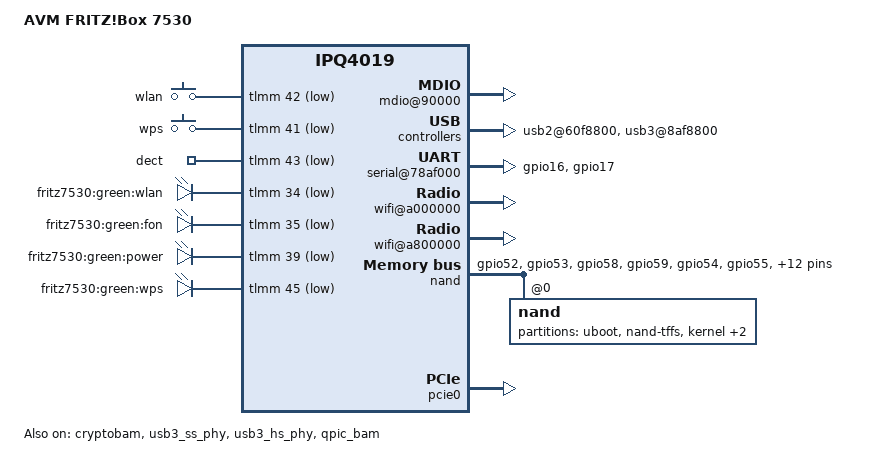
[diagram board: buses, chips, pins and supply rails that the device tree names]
/* Copyright (c) 2015, The Linux Foundation. All rights reserved.
 *
 * Permission to use, copy, modify, and/or distribute this software for any
 * purpose with or without fee is hereby granted, provided that the above
 * copyright notice and this permission notice appear in all copies.
 *
 * THE SOFTWARE IS PROVIDED "AS IS" AND THE AUTHOR DISCLAIMS ALL WARRANTIES
 * WITH REGARD TO THIS SOFTWARE INCLUDING ALL IMPLIED WARRANTIES OF
 * MERCHANTABILITY AND FITNESS. IN NO EVENT SHALL THE AUTHOR BE LIABLE FOR
 * ANY SPECIAL, DIRECT, INDIRECT, OR CONSEQUENTIAL DAMAGES OR ANY DAMAGES
 * WHATSOEVER RESULTING FROM LOSS OF USE, DATA OR PROFITS, WHETHER IN AN
 * ACTION OF CONTRACT, NEGLIGENCE OR OTHER TORTIOUS ACTION, ARISING OUT OF
 * OR IN CONNECTION WITH THE USE OR PERFORMANCE OF THIS SOFTWARE.
 *
 */

#include "qcom-ipq4019.dtsi"
#include <dt-bindings/gpio/gpio.h>
#include <dt-bindings/input/input.h>
#include <dt-bindings/soc/qcom,tcsr.h>

/ {
	model = "AVM FRITZ!Box 7530";
	compatible = "avm,fritzbox-7530", "qcom,ipq4019";

	aliases {
		led-boot = &power;
		led-failsafe = &power;
		led-running = &power;
		led-upgrade = &power;
	};

	soc {
		mdio@90000 {
			status = "okay";
		};

		ess-psgmii@98000 {
			status = "okay";
		};

		tcsr@1949000 {
			compatible = "qcom,tcsr";
			reg = <0x1949000 0x100>;
			qcom,wifi_glb_cfg = <TCSR_WIFI_GLB_CFG>;
		};

		tcsr@194b000 {
			compatible = "qcom,tcsr";
			reg = <0x194b000 0x100>;
			qcom,usb-hsphy-mode-select = <TCSR_USB_HSPHY_HOST_MODE>;
		};

		ess_tcsr@1953000 {
			compatible = "qcom,tcsr";
			reg = <0x1953000 0x1000>;
			qcom,ess-interface-select = <TCSR_ESS_PSGMII>;
		};

		tcsr@1957000 {
			compatible = "qcom,tcsr";
			reg = <0x1957000 0x100>;
			qcom,wifi_noc_memtype_m0_m2 = <TCSR_WIFI_NOC_MEMTYPE_M0_M2>;
		};

		usb2@60f8800 {
			status = "okay";
		};

		serial@78af000 {
			pinctrl-0 = <&serial_0_pins>;
			pinctrl-names = "default";
			status = "okay";
		};

		usb3@8af8800 {
			status = "okay";
		};

		crypto@8e3a000 {
			status = "okay";
		};

		wifi@a000000 {
			status = "okay";
			qcom,ath10k-calibration-variant = "AVM-FRITZBox-7530";
		};

		wifi@a800000 {
			status = "okay";
			qcom,ath10k-calibration-variant = "AVM-FRITZBox-7530";
		};

		watchdog@b017000 {
			status = "okay";
		};

		ess-switch@c000000 {
			status = "okay";
		};

		edma@c080000 {
			status = "okay";
			qcom,num_gmac = <1>;
		};
	};

	gpio-keys {
		compatible = "gpio-keys";

		wlan {
			label = "wlan";
			gpios = <&tlmm 42 GPIO_ACTIVE_LOW>;
			linux,code = <KEY_RFKILL>;
		};

		wps {
			label = "wps";
			gpios = <&tlmm 41 GPIO_ACTIVE_LOW>;
			linux,code = <KEY_WPS_BUTTON>;
		};

		dect {
			label = "dect";
			gpios = <&tlmm 43 GPIO_ACTIVE_LOW>;
		};
	};

	gpio-leds {
		compatible = "gpio-leds";

		wlan {
			label = "fritz7530:green:wlan";
			gpios = <&tlmm 34 GPIO_ACTIVE_LOW>;
		};

		fon {
			label = "fritz7530:green:fon";
			gpios = <&tlmm 35 GPIO_ACTIVE_LOW>;
		};

		power: power {
			label = "fritz7530:green:power";
			gpios = <&tlmm 39 GPIO_ACTIVE_LOW>;
		};

		wps {
			label = "fritz7530:green:wps";
			gpios = <&tlmm 45 GPIO_ACTIVE_LOW>;
		};
	};
};

&tlmm {
	serial_0_pins: serial_pinmux {
		mux {
			pins = "gpio16", "gpio17";
			function = "blsp_uart0";
			bias-disable;
		};
	};
	nand_pins: nand_pins {
		pullups {
			pins = "gpio52", "gpio53", "gpio58",
				"gpio59";
			function = "qpic";
			bias-pull-up;
		};

		pulldowns {
			pins = "gpio54", "gpio55", "gpio56",
				"gpio57", "gpio60", "gpio61",
				"gpio62", "gpio63", "gpio64",
				"gpio65", "gpio66", "gpio67",
				"gpio68", "gpio69";
			function = "qpic";
			bias-pull-down;
		};
	};
};

&nand {
	pinctrl-0 = <&nand_pins>;
	pinctrl-names = "default";
	status = "okay";

	nand@0 {
		partitions {
			compatible = "fixed-partitions";
			#address-cells = <1>;
			#size-cells = <1>;

			partition@0 {
				label = "uboot";
				reg = <0x000000 0x2c0000>;
				read-only;
			};
			partition@1 {
				label = "nand-tffs";
				reg = <0x2c0000 0x840000>;
				read-only;
			};
			partition@2 {
				label = "kernel";
				reg = <0xb00000 0x400000>;
			};
			partition@3 {
				label = "reserved-kernel";
				reg = <0xf00000 0x400000>;
				read-only;
			};
			partition@4 {
				label = "ubi";
				reg = <0x1300000 0x6d00000>;
			};
		};
	};
};

&cryptobam {
	status = "okay";
};

&blsp_dma {
	status = "okay";
};

&usb3_ss_phy {
	status = "okay";
};

&usb3_hs_phy {
	status = "okay";
};

&qpic_bam {
	status = "okay";
};

&pcie0 {
	status = "okay";
	perst-gpio = <&tlmm 38 GPIO_ACTIVE_LOW>;
	wake-gpio = <&tlmm 50 GPIO_ACTIVE_LOW>;

	bridge@0,0 {
		reg = <0x00000000 0 0 0 0>;
		#address-cells = <3>;
		#size-cells = <2>;
		ranges;
	};
};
